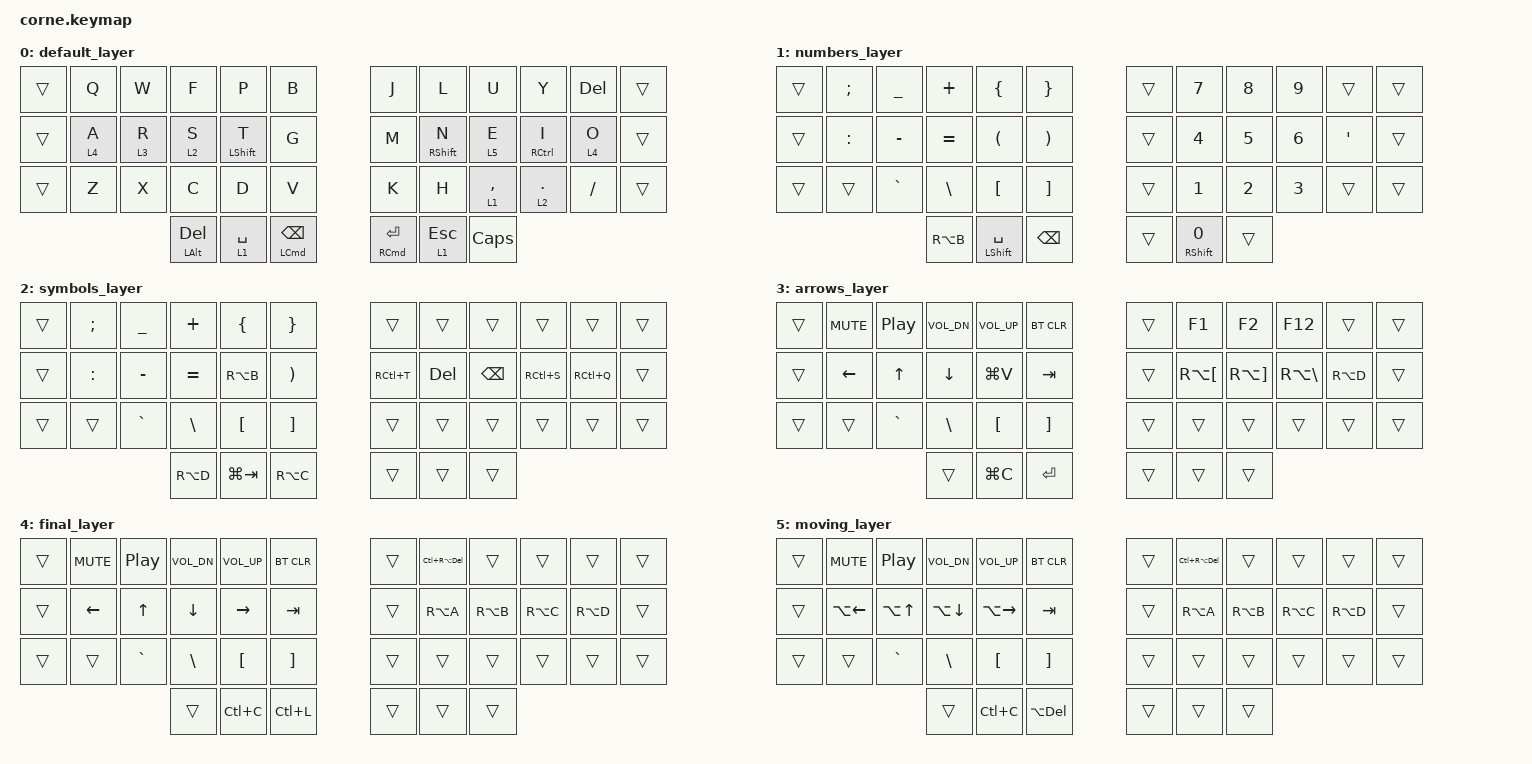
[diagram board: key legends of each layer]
/*
 * Copyright (c) 2020 The ZMK Contributors
 *
 * SPDX-License-Identifier: MIT
 */

#include <behaviors.dtsi>
#include <dt-bindings/zmk/keys.h>
#include <dt-bindings/zmk/bt.h>

#define DEFAULT   0
#define NUMBERS   1
#define SYMBOLS   2
#define ARROWS    3
#define FINAL     4
#define MOVING     5

/ {
        keymap {
                compatible = "zmk,keymap";

                default_layer {
// -----------------------------------------------------------------------------------------
// |  Y  |  C  |  L  |  M  |  K  |           |  Z  |  F   |  U  |  X  |  '  |
// |  I  |  S  |  R  | T&S |  G  |           |  P  |  N&S |  E  |  A  |  O  |  
// |  Q  |  V  |  W  |  D  |  J  |           |  B  |  H   |LT2&,|  .  |  /  | 
//   | DEL |SPACE&LT1|BSPC&option|           | RET&META | ESC&LT1  |  |
                        bindings = <
   &trans &kp Q &kp W  &kp F &kp P  &kp B         &kp J &kp L &kp U &kp Y &kp DEL &trans
   &trans &lt 4 A &lt 3 R  &lt 2 S &mt LSHFT T &kp G    &kp M &mt RSHIFT N &lt 5 E &mt RCTRL I &lt 4 O &trans
   &trans &kp Z &kp X  &kp C &kp D &kp V          &kp K &kp H &lt 1 COMMA &lt 2 DOT &kp FSLH  &trans
   &mt LALT DEL &lt 1  SPACE &mt LCMD BSPC             &mt RCMD RET &lt 1 ESC &kp CAPS
                        >;
                };
                numbers_layer {
// -----------------------------------------------------------------------------------------
// |  Y  |  C  |  L  |  M  |  K  |           |  Z  |  F   |  U  |  X  |  '  |
// |  I  |  S  |  R  | T&S |  G  |           |  P  |  N&S |  E  |  A  |  O  |
// |  Q  |  V  |  W  |  D  |  J  |           |  B  |  H   |LT2&,|  .  |  /  |
//   | DEL |SPACE&LT1|BSPC&option|           | RET&META | ESC&LT1  |  |
                        bindings = <
   &trans &kp SEMI &kp UNDER  &kp PLUS &kp LBRC &kp RBRC         &trans  &kp N7  &kp N8 &kp N9  &trans &trans
   &trans &kp COLON  &kp MINUS &kp EQUAL &kp LPAR &kp RPAR       &trans  &kp N4  &kp N5 &kp N6  &kp SQT  &trans
   &trans &trans &kp GRAVE  &kp BSLH &kp LBKT &kp RBKT           &trans  &kp N1  &kp N2 &kp N3  &trans  &trans
   &kp RA(B) &mt LSHIFT SPACE &kp BSPC                                     &trans  &mt RSHIFT N0  &trans
                        >;
                };

                symbols_layer {
// -----------------------------------------------------------------------------------------
// |  TAB |  !  |  @  |  #  |  $  |  %  |   |  ^  |  &  |  *  |  (  |  )  | BKSP |
// | CTRL |     |     |     |     |     |   |  -  |  =  |  [  |  ]  |  \  |  `   |
// | SHFT |     |     |     |     |     |   |  _  |  +  |  {  |  }  | "|" |  ~   |
//                    | GUI |     | SPC |   | ENT |     | ALT |
                        bindings = <
   &trans &kp SEMI &kp UNDER  &kp PLUS &kp LBRC &kp RBRC            &trans  &trans  &trans  &trans  &trans  &trans
   &trans &kp COLON  &kp MINUS &kp EQUAL &kp RA(B) &kp RPAR     &kp RC(T)  &kp DEL  &kp BSPC  &kp RC(S)  &kp RC(Q)  &trans
   &trans &trans &kp GRAVE  &kp BSLH &kp LBKT &kp RBKT       &trans  &trans  &trans  &trans  &trans  &trans
   &kp RA(D) &kp LG(TAB) &kp RA(C)                                      &trans  &trans  &trans

                        >;
                };
                 arrows_layer {
// -----------------------------------------------------------------------------------------
// |  TAB |  !  |  @  |  #  |  $  |  %  |   |  ^  |  &  |  *  |  (  |  )  | BKSP |
// | CTRL |     |     |     |     |     |   |  -  |  =  |  [  |  ]  |  \  |  `   |
// | SHFT |     |     |     |     |     |   |  _  |  +  |  {  |  }  | "|" |  ~   |
//                    | GUI |     | SPC |   | ENT |     | ALT |
                        bindings = <
   &trans &kp C_MUTE &kp C_PP  &kp C_VOL_DN &kp C_VOL_UP  &bt BT_CLR            &trans  &kp F1  &kp F2  &kp F12  &trans  &trans
   &trans &kp LEFT &kp UP &kp DOWN &kp LG(V) &kp TAB     &trans  &kp RA(LBKT)  &kp RA(RBKT)  &kp RA(BSLH)  &kp RA(D)  &trans
   &trans &trans &kp GRAVE  &kp BSLH &kp LBKT &kp RBKT       &trans  &trans  &trans  &trans  &trans  &trans
   &trans &kp LG(C) &kp RET                                      &trans  &trans  &trans
                        >;
                };
                                final_layer {
// -----------------------------------------------------------------------------------------
// |  TAB |  !  |  @  |  #  |  $  |  %  |   |  ^  |  &  |  *  |  (  |  )  | BKSP
// | CTRL |     |     |     |     |     |   |  -  |  =  |  [  |  ]  |  \  |  `   |
// | SHFT |     |     |     |     |     |   |  _  |  +  |  {  |  }  | "|" |  ~   |
//                    | GUI |     | SPC |   | ENT |     | ALT |
                         bindings = <
    &trans &kp C_MUTE &kp C_PP  &kp C_VOL_DN &kp C_VOL_UP  &bt BT_CLR            &trans  &kp LC(RA(DEL))  &trans  &trans  &trans  &trans
    &trans &kp LEFT &kp UP &kp DOWN &kp RIGHT &kp TAB     &trans  &kp RA(A)  &kp RA(B)  &kp RA(C)  &kp RA(D)  &trans
    &trans &trans &kp GRAVE  &kp BSLH &kp LBKT &kp RBKT       &trans  &trans  &trans  &trans  &trans  &trans
    &trans &kp LC(C) &kp LC(L)                                       &trans  &trans  &trans
                                        >;
                                };

                                moving_layer {
// -----------------------------------------------------------------------------------------
// |  TAB |  !  |  @  |  #  |  $  |  %  |   |  ^  |  &  |  *  |  (  |  )  | BKSP
// | CTRL |     |     |     |     |     |   |  -  |  =  |  [  |  ]  |  \  |  `   |
// | SHFT |     |     |     |     |     |   |  _  |  +  |  {  |  }  | "|" |  ~   |
//                    | GUI |     | SPC |   | ENT |     | ALT |
                         bindings = <
    &trans &kp C_MUTE &kp C_PP  &kp C_VOL_DN &kp C_VOL_UP  &bt BT_CLR            &trans  &kp LC(RA(DEL))  &trans  &trans  &trans  &trans
    &trans &kp LA(LEFT) &kp LA(UP) &kp LA(DOWN) &kp LA(RIGHT) &kp TAB     &trans  &kp RA(A)  &kp RA(B)  &kp RA(C)  &kp RA(D)  &trans
    &trans &trans &kp GRAVE  &kp BSLH &kp LBKT &kp RBKT       &trans  &trans  &trans  &trans  &trans  &trans
    &trans &kp LC(C) &kp LA(DEL)                                       &trans  &trans  &trans
                                        >;
                                };
};
};


